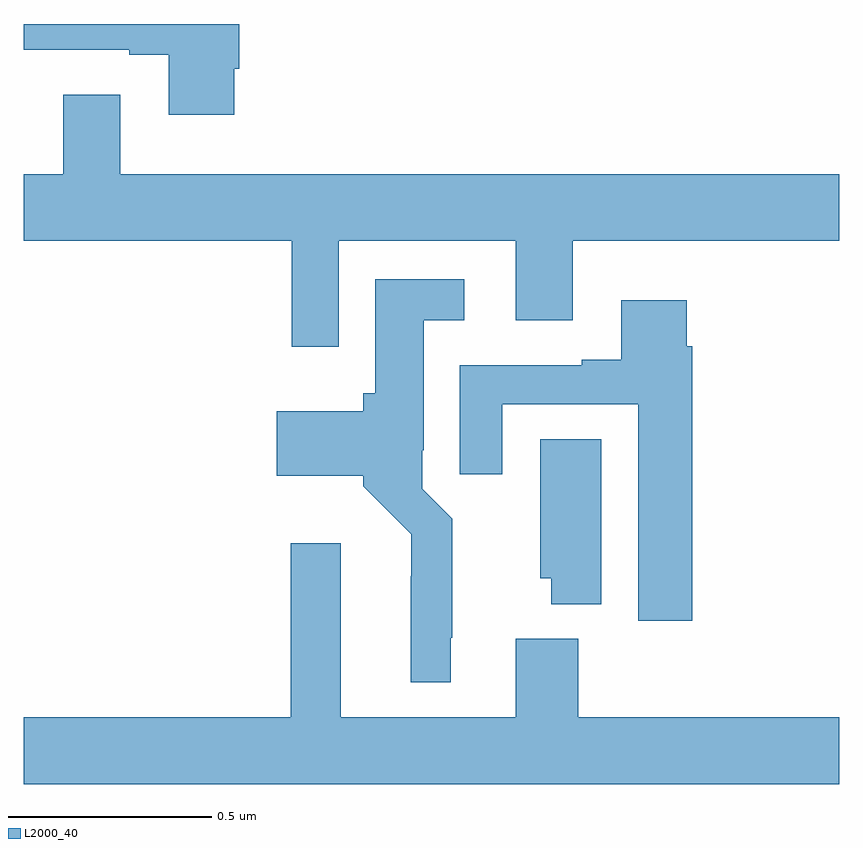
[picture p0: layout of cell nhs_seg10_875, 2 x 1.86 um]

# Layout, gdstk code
import gdstk
lib = gdstk.Library(unit=1e-6, precision=1e-09)
def P(c, l, *ps):  # polygons
    for p in ps: c.add(gdstk.Polygon(p, *l))
L2000_40 = (2000, 40)

nhs_seg10_875 = lib.new_cell('nhs_seg10_875')
P(nhs_seg10_875, L2000_40, [(121.516,1315.39),(121.529,1315.39),(121.529,1315.5),(121,1315.5),(121,1315.437),(121.259,1315.437),(121.259,1315.425),(121.355,1315.425),(121.355,1315.278),(121.516,1315.278)],
  [(121.773,1314.968),(122.207,1314.968),(122.207,1314.774),(122.347,1314.774),(122.347,1314.968),(123,1314.968),(123,1315.132),(121.237,1315.132),(121.237,1315.327),(121.097,1315.327),(121.097,1315.132),(121,1315.132),(121,1314.968),(121.657,1314.968),(121.657,1314.708),(121.773,1314.708)],
  [(122.047,1313.995),(122.051,1313.995),(122.051,1314.286),(121.977,1314.36),(121.977,1314.454),(121.981,1314.454),(121.981,1314.773),(122.08,1314.773),(122.08,1314.874),(121.862,1314.874),(121.862,1314.594),(121.832,1314.594),(121.832,1314.55),(121.62,1314.55),(121.62,1314.392),(121.832,1314.392),(121.832,1314.366),(121.95,1314.248),(121.95,1314.146),(121.949,1314.146),(121.949,1313.885),(122.047,1313.885)],
  [(122.639,1314.71),(122.626,1314.71),(122.626,1314.823),(122.465,1314.823),(122.465,1314.676),(122.369,1314.676),(122.369,1314.663),(122.069,1314.663),(122.069,1314.396),(122.173,1314.396),(122.173,1314.567),(122.507,1314.567),(122.507,1314.036),(122.639,1314.036)],
  [(122.416,1314.482),(122.267,1314.482),(122.267,1314.141),(122.294,1314.141),(122.294,1314.077),(122.416,1314.077)],
  [(123,1313.8),(122.36,1313.8),(122.36,1313.992),(122.207,1313.992),(122.207,1313.8),(121.777,1313.8),(121.777,1314.226),(121.655,1314.226),(121.655,1313.8),(121,1313.8),(121,1313.636),(123,1313.636)])

lib.write_gds('nhs_seg10_875.gds')
